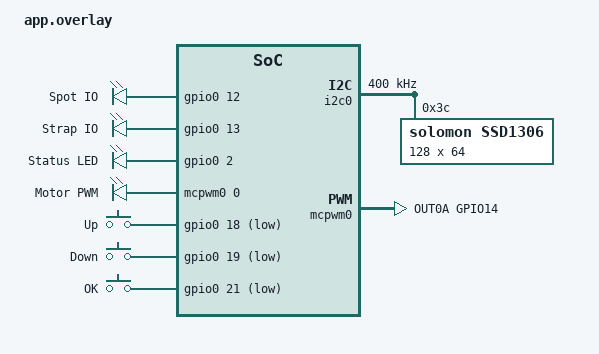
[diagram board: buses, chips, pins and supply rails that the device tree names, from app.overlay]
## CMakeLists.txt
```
cmake_minimum_required(VERSION 3.20.0)

set(BOARD esp32_devkitc/esp32/procpu)

find_package(Zephyr REQUIRED HINTS $ENV{ZEPHYR_BASE})
project(curing_station)

target_sources(app PRIVATE src/main.c)
target_sources(app PRIVATE components/thread_fn.c)
target_sources(app PRIVATE components/motor.c)
target_sources(app PRIVATE components/state_machine.c)
target_sources(app PRIVATE components/curing_time.c)

target_include_directories(app PRIVATE ./)
target_include_directories(app PRIVATE components)
```

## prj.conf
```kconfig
CONFIG_GPIO=y
CONFIG_PWM=y
CONFIG_INPUT=y
CONFIG_INPUT_GPIO_KEYS=y
CONFIG_INPUT_LONGPRESS=y

CONFIG_PRINTK=y
CONFIG_LOG=y

CONFIG_I2C=y
CONFIG_DISPLAY=y
CONFIG_SSD1306=y
CONFIG_CHARACTER_FRAMEBUFFER=y
```

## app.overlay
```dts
#include <zephyr/dt-bindings/input/input-event-codes.h>

/ {
    aliases {
        spot-out = &spot_out;
        strap-out = &strap_out;
        motor-out = &motor_pwm;

        display = &ssd1306;
        status-led = &status_led;
    };

    outputs {
        compatible = "gpio-leds";

        spot_out: spot_out {
            gpios = <&gpio0 12 GPIO_ACTIVE_HIGH>;
            label = "Spot IO";
        };

        strap_out: strap_out {
            gpios = <&gpio0 13 GPIO_ACTIVE_HIGH>;
            label = "Strap IO";
        };

        status_led: status_led {
            gpios = <&gpio0 2 GPIO_ACTIVE_HIGH>;
            label = "Status LED";
        };
    };

    pwm_outputs {
        compatible = "pwm-leds";

        motor_pwm: motor_pwm {
            pwms = <&mcpwm0 0 20000 PWM_POLARITY_NORMAL>;
            label = "Motor PWM";
        };
    };

    buttons: buttons {
        compatible = "gpio-keys";

        up_button: up_button {
            gpios = <&gpio0 18 (GPIO_PULL_UP | GPIO_ACTIVE_LOW)>;
            zephyr,code = <INPUT_KEY_UP>;
            label = "Up";
        };

        down_button: down_button {
            gpios = <&gpio0 19 (GPIO_PULL_UP | GPIO_ACTIVE_LOW)>;
            zephyr,code = <INPUT_KEY_DOWN>;
            label = "Down";
        };

        ok_button: ok_button {
            gpios = <&gpio0 21 (GPIO_PULL_UP | GPIO_ACTIVE_LOW)>;
            zephyr,code = <INPUT_KEY_ENTER>;
            label = "OK";
        };
    };

    longpress {
        compatible = "zephyr,input-longpress";

        input = <&buttons>;

        input-codes = <
            INPUT_KEY_UP
            INPUT_KEY_DOWN
            INPUT_KEY_ENTER
        >;

        short-codes = <
            INPUT_KEY_F1
            INPUT_KEY_F2
            INPUT_KEY_F3
        >;

        long-codes = <
            INPUT_KEY_F4
            INPUT_KEY_F5
            INPUT_KEY_F6
        >;

        long-delay-ms = <1000>;
    };
};

&pinctrl {
    i2c0_custom: i2c0_custom {
        group1 {
            pinmux = <I2C0_SDA_GPIO16>,
                     <I2C0_SCL_GPIO17>;
            bias-pull-up;
        };
    };

    mcpwm0_default: mcpwm0_default {
        group1 {
            pinmux = <MCPWM0_OUT0A_GPIO14>;
            output-enable;
        };
    };
};

&i2c0 {
    status = "okay";
    clock-frequency = <I2C_BITRATE_FAST>;

    pinctrl-0 = <&i2c0_custom>;
    pinctrl-names = "default";

    ssd1306: display@3c {
        compatible = "solomon,ssd1306";
        reg = <0x3c>;

        width = <128>;
        height = <64>;

        segment-offset = <0>;
        page-offset = <0>;
        display-offset = <0>;
        multiplex-ratio = <63>;

        prechargep = <0x22>;

        segment-remap;
        com-invdir;
        com-sequential;
        softreset-on;
    };
};

&mcpwm0 {
    status = "okay";

    pinctrl-0 = <&mcpwm0_default>;
    pinctrl-names = "default";

    /*
     * Horloge MCPWM :
     * période PWM_clk = 6.25ns * (prescale + 1)
     */
    prescale = <15>;
    prescale-timer0 = <1>;
};
```

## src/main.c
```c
#include <zephyr/kernel.h>
#include <zephyr/sys/atomic.h>
#include <zephyr/sys/printk.h>

/* Display includes */
#include <zephyr/drivers/i2c.h>
#include <zephyr/drivers/display.h>
#include <zephyr/display/cfb.h>

/* Buttons include */
#include <zephyr/input/input.h>

/* Private includes */
#include "state_machine.h"
#include "curing_time.h"
#include "motor.h"

/* Buttons define */
#define SCREEN_REFRESH_RATE_MS			50
#define TIME_CONTINUOUS_INC_DEC_DELAY	100

/* Thread defines */
#include "thread_fn.h"
K_THREAD_STACK_DEFINE(ssd1306_stack, STACK_SIZE);
K_THREAD_STACK_DEFINE(curing_stack, STACK_SIZE);
K_THREAD_STACK_DEFINE(time_increase_stack, STACK_SIZE);
K_THREAD_STACK_DEFINE(time_decrease_stack, STACK_SIZE);

/* ssd1306 */
static const struct device *display =
    DEVICE_DT_GET(DT_ALIAS(display));

/* Thread functions declarations */
static void ssd1306_thread(void *arg1, void *arg2, void *arg3);
static void curing_thread_fn(void *arg1, void *arg2, void *arg3);
void value_increase_fn(void *arg1, void *arg2, void *arg3);
void value_decrease_fn(void *arg1, void *arg2, void *arg3);

/**
 * @brief Callback for buttons events
 * @param evt event calling the callback.
 * @param user_data not used
 */
static void input_event_cb(struct input_event *evt, void *user_data)
{
    ARG_UNUSED(user_data);
    static atomic_t increase_thread_status;
    static atomic_t decrease_thread_status;

    switch (evt->code) {

    case INPUT_KEY_F1: // Up short
        if (evt->value == 1) {
            if(sm_get_state() == time_selection) {
                ct_increase_time();
            } else if(sm_get_state() == motor_pwr_selection) {
                motor_increase_pwr();
            }
        }
        break;

    case INPUT_KEY_F2: // Down short
        if(evt->value == 1) {
            if(sm_get_state() == time_selection) {
                ct_decrease_time();
            } else if(sm_get_state() == motor_pwr_selection) {
                motor_decrease_pwr();
            }
        }
        break;

    case INPUT_KEY_F3: // Enter short
        if(evt->value == 1) {
            if(sm_get_state() == time_selection) {
                sm_set_state(motor_pwr_selection);
            } else if(sm_get_state() == motor_pwr_selection) {
                k_thread_create(thread_get_curing(), curing_stack, STACK_SIZE, curing_thread_fn, NULL, NULL, NULL, THREAD_PRIORITY, 0, K_NO_WAIT);
            }
        }
        break;

    case INPUT_KEY_F4: // Up long
        if((evt->value == 1) && ((sm_get_state() == time_selection) || (sm_get_state() == motor_pwr_selection))) {
            atomic_set(&increase_thread_status, 1);
            k_thread_create(thread_get_time_increase(), time_increase_stack, STACK_SIZE, value_increase_fn, &increase_thread_status, NULL, NULL, THREAD_PRIORITY, 0, K_NO_WAIT);
        } else if((evt->value == 0) && ((sm_get_state() == time_selection) || (sm_get_state() == motor_pwr_selection))) {
            atomic_set(&increase_thread_status, 0);
        }
        break;

    case INPUT_KEY_F5: // Down long
        if((evt->value == 1) && ((sm_get_state() == time_selection) || (sm_get_state() == motor_pwr_selection))) {
            atomic_set(&decrease_thread_status, 1);
            k_thread_create(thread_get_time_decrease(), time_decrease_stack, STACK_SIZE, value_decrease_fn, &decrease_thread_status, NULL, NULL, THREAD_PRIORITY, 0, K_NO_WAIT);
        } else if((evt->value == 0) && ((sm_get_state() == time_selection) || (sm_get_state() == motor_pwr_selection))) {
            atomic_set(&decrease_thread_status, 0);
        }
        break;

    case INPUT_KEY_F6: // Enter long
        if((evt->value == 1) && ((sm_get_state() == motor_pwr_selection) || (sm_get_state() == curing))) {
            sm_set_state(time_selection);
        }
        break;
    }
}

/**
 * @brief Thread-function that increases the time automatically
 * @param arg1 not used
 * @param arg2 not used
 * @param arg3 not used
 */
void value_increase_fn(void *arg1, void *arg2, void *arg3)
{
    atomic_t *increase_thread_status = (atomic_t *) arg1;
    while(atomic_get(increase_thread_status)) {
        switch(sm_get_state()) {
        case time_selection:
            if(ct_get_time() < CURING_TIME_MAX_VALUE) {
                ct_increase_time();
            }
            break;
        case motor_pwr_selection:
            motor_increase_pwr();
            break;
        default:
            break;
        }
        k_sleep(K_MSEC(TIME_CONTINUOUS_INC_DEC_DELAY));
    }
}

/**
 * @brief Thread-function that decreases the time automatically
 * @param arg1 not used
 * @param arg2 not used
 * @param arg3 not used
 */
void value_decrease_fn(void *arg1, void *arg2, void *arg3)
{
    atomic_t *decrease_thread_status = (atomic_t *) arg1;
    while(atomic_get(decrease_thread_status)) {
        switch(sm_get_state()) {
        case time_selection:
            if(ct_get_time() < CURING_TIME_MAX_VALUE) {
                ct_decrease_time();
            }
            break;
        case motor_pwr_selection:
            motor_decrease_pwr();
            break;
        default:
            break;
        }
        k_sleep(K_MSEC(TIME_CONTINUOUS_INC_DEC_DELAY));
    }
}

/**
 * @brief Thread-function that decreases the time every minute while in curing state
 * @param arg1 not used
 * @param arg2 not used
 * @param arg3 not used
 */
void curing_thread_fn(void *arg1, void *arg2, void *arg3)
{
    bool running = true;
    uint16_t last_time;
    sm_set_state(curing);

    while(running) {
        last_time = ct_get_time();
        if((last_time <= 0) || sm_get_state() != curing) {
            running = false;
        } else {
            k_sleep(K_SECONDS(60)); // 1min
            ct_set_time(last_time - 1);
        }
    }

    if(ct_get_time() == 0) {
        ct_set_time(CURING_TIME_DEFAULT_VALUE);
    }
    sm_set_state(time_selection);
}

/**
 * @brief Thread-function. Check every SCREEN_REFRESH_RATE_MS (50ms) to see if an info changed and refresh the screen if needed
 * @param arg1 not used
 * @param arg2 not used
 * @param arg3 not used
 */
void ssd1306_thread(void *arg1, void *arg2, void *arg3)
{
    char value_string[16];
    curing_state_t last_state = time_selection;
    uint16_t last_time = 0;
    uint8_t last_motor_pwr = 0;
    uint16_t time_hour = 0;
    uint8_t time_min = 0;
    while(true) {
        if ((last_time != ct_get_time()) || (last_motor_pwr != motor_get_pwr()) || (last_state != sm_get_state())) {
            last_state = sm_get_state();
            last_time = ct_get_time();
            last_motor_pwr = motor_get_pwr();
            time_min = last_time%60;
            time_hour = (last_time - time_min)/60;

            cfb_framebuffer_clear(display, true);
            switch(last_state) {
            case time_selection:
                cfb_print(display, "Time :", 0, 6);
                if(last_time < 60) {
                    sprintf(value_string, "%dmin", last_time);
                } else {
                    sprintf(value_string, "%dh%dmin", time_hour, time_min);
                }
                break;
            case motor_pwr_selection:
                cfb_print(display, "Motor PWR :", 0, 6);
                sprintf(value_string, "%d%%", last_motor_pwr);
                break;
            case curing :
                cfb_print(display, "Curing", 0, 6);
                if(last_time < 60) {
                    sprintf(value_string, "%dmin", last_time);
                } else {
                    sprintf(value_string, "%dh%dmin", time_hour, time_min);
                }
                break;
            }
            cfb_print(display, value_string, 32, 19);
            cfb_framebuffer_finalize(display);
        }
        k_sleep(K_MSEC(SCREEN_REFRESH_RATE_MS));
    }
}

int main(void)
{
    /* Mutexes initialisation */
    sm_init();
    ct_mutex_init();

    /* Display configuration */
    if (!device_is_ready(display)) {
        printk("Display not ready\n");
        return 0;
    }
    cfb_framebuffer_init(display);
    cfb_framebuffer_set_font(display, 0);
    k_thread_create(thread_get_ssd1306(), ssd1306_stack, STACK_SIZE, ssd1306_thread, NULL, NULL, NULL, THREAD_PRIORITY, 0, K_NO_WAIT);

    /* Button callback configuration */
    INPUT_CALLBACK_DEFINE(NULL, input_event_cb, NULL);

    printk("System ready\n");

    while (1) {
        k_sleep(K_SECONDS(10));
    }

    return 0;
}
```
